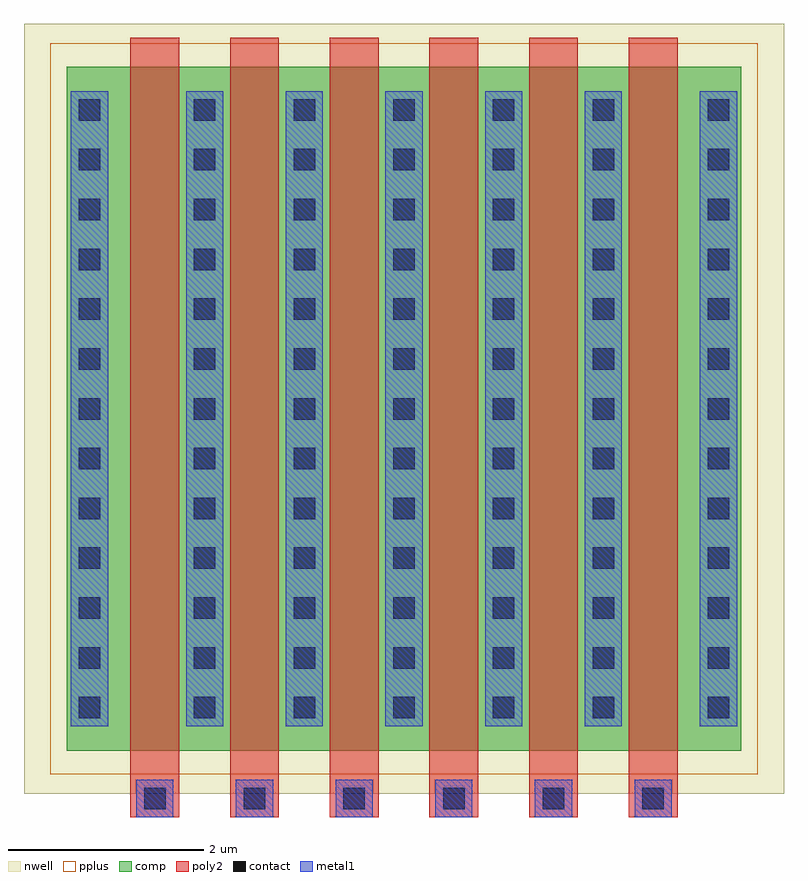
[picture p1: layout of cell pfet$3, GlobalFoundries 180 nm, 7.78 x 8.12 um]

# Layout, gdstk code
import gdstk
lib = gdstk.Library(unit=1e-6, precision=5e-09)
def R(c, l, rs):  # rectangles x0, y0, x1, y1
    for r in rs: c.add(gdstk.rectangle(r[:2], r[2:], *l))
def A(c, l, x, y, w, h, nx, ny, dx, dy):  # array of equal rectangles
    R(c, l, [(x+i*dx, y+j*dy, x+i*dx+w, y+j*dy+h) for i in range(nx) for j in range(ny)])
nwell = (21, 0)
comp = (22, 0)
poly2 = (30, 0)
pplus = (31, 0)
contact = (33, 0)
metal1 = (34, 0)

pfet_3 = lib.new_cell('pfet$3')
R(pfet_3, nwell, [(-0.9,-0.44,6.88,7.44)])
R(pfet_3, comp, [(-0.46,0,0,7), (0,0,5.98,7), (5.98,0,6.44,7)])
A(pfet_3, poly2, 0.19, -0.68, 0.5, 0.38, 6, 1, 1.02, 0)
A(pfet_3, poly2, 0.19, -0.3, 0.5, 7.6, 6, 1, 1.02, 0)
R(pfet_3, pplus, [(-0.63,-0.24,6.61,7.24)])
A(pfet_3, contact, 0.33, -0.6, 0.22, 0.22, 6, 1, 1.02, 0)
A(pfet_3, contact, -0.34, 0.33, 0.22, 0.22, 1, 13, 0, 0.51)
A(pfet_3, contact, 0.84, 0.33, 0.22, 0.22, 5, 13, 1.02, 0.51)
A(pfet_3, contact, 6.1, 0.33, 0.22, 0.22, 1, 13, 0, 0.51)
A(pfet_3, metal1, 0.25, -0.68, 0.38, 0.38, 6, 1, 1.02, 0)
A(pfet_3, metal1, 0.76, 0.25, 0.38, 6.5, 5, 1, 1.02, 0)
R(pfet_3, metal1, [(-0.42,0.25,-0.04,6.75), (6.02,0.25,6.4,6.75)])

lib.write_gds('pfet_3.gds')
